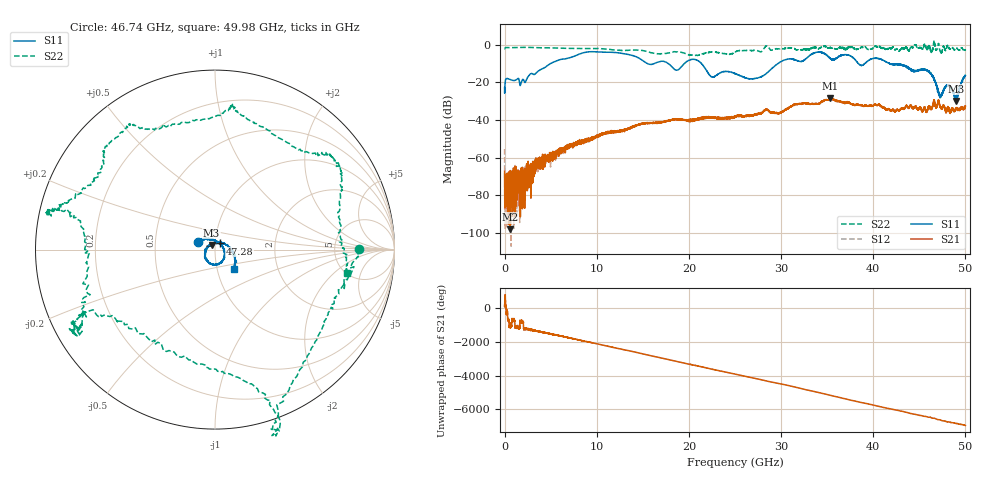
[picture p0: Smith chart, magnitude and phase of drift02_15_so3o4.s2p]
!Created with skrf (http://scikit-rf.org).
# Hz S RI R 50.0
!freq ReS11 ImS11 ReS21 ImS21 ReS12 ImS12 ReS22 ImS22
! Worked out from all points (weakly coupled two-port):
!   10001 points, 300 kHz to 50 GHz, reference 50 ohm
!   highest |S21| = -28.51 dB at 35.32 GHz (marker M1); lowest = -98.1 dB at 580.3 MHz (marker M2)
!   lowest |S11| = -29.8 dB at 48.97 GHz (marker M3), VSWR 1.07, Z = 48.1 + j2.49 ohm
!   |S11| at or under -10 dB: start of sweep to 4.958 GHz; 21.38 GHz to 29.63 GHz (8.257 GHz wide, 32.4 % of centre); 41.8 GHz to end of sweep (the widest 3 of 7)
!   |S22| runs from -5.7 to 2.3 dB; largest |S21 - S12| = 0.0047
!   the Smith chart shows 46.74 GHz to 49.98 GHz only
!   S11 on the Smith chart (normalised r, x): 46.74 GHz: 0.83, +0.07; 47.28 GHz: 1.06, +0.07; 49.98 GHz: 1.20, -0.27
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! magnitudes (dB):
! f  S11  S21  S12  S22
! 300 kHz  -22.7  -67.3  -55.4  -2.1
! 260.3 MHz  -17.9  -68.5  -74.0  -1.4
! 580.3 MHz  -18.4  -98.1  -74.4  -1.5
! 1.875 GHz  -19.0  -69.1  -71.5  -1.3
! 3.615 GHz  -14.1  -61.8  -62.5  -1.5
! 8.335 GHz  -4.5  -51.6  -51.3  -1.9
! 16.67 GHz  -9.1  -41.6  -41.4  -4.7
! 18.69 GHz  -13.5  -39.7  -39.5  -3.7
! 20.6 GHz  -7.7  -39.5  -40.1  -5.7
! 22.51 GHz  -17.1  -38.8  -38.8  -3.7
! 25 GHz  -15.3  -38.0  -38.3  -3.9
! 27.45 GHz  -17.6  -36.7  -36.8  -3.1
! 33.34 GHz  -4.9  -31.3  -31.3  -1.6
! 35.32 GHz  -7.1  -28.5  -28.8  -1.4
! 41.67 GHz  -9.7  -34.1  -34.0  -1.9
! 45.78 GHz  -13.5  -36.0  -35.7  -2.0
! 46.74 GHz  -19.8  -32.8  -32.4  -1.9
! 47.28 GHz  -26.9  -33.0  -33.0  -3.5
! 48.13 GHz  -21.9  -33.2  -33.2  -0.7
! 48.97 GHz  -29.8  -33.9  -34.2  -2.5
! 49.98 GHz  -16.3  -32.6  -32.7  -2.5
! 50 GHz  -16.3  -32.6  -32.8  -2.6
